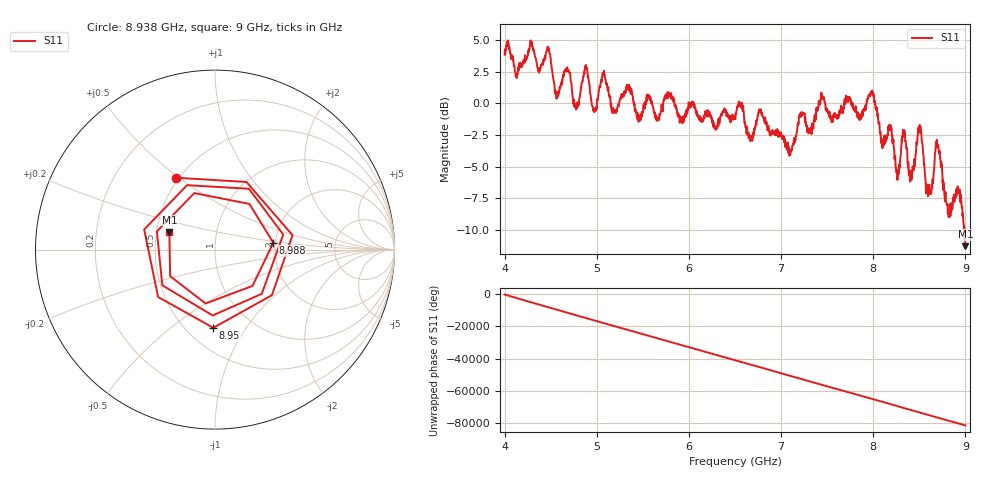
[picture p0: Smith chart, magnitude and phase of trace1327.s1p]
! Created with skrf 1.8.0 (http://scikit-rf.org).
# Hz S RI R 50.0
!freq ReS11 ImS11
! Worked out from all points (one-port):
!   1601 points, 4 GHz to 9 GHz, reference 50 ohm
!   lowest |S11| = -11.3 dB at 9 GHz (marker M1), VSWR 1.75, Z = 29.2 + j6.24 ohm
!   |S11| at or under -10 dB: 8.988862 GHz to end of sweep
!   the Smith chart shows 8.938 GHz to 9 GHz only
!   S11 on the Smith chart (normalised r, x): 8.938 GHz: 0.48, +0.49; 8.95 GHz: 0.67, -0.72; 8.988 GHz: 1.95, +0.17; 9 GHz: 0.58, +0.12
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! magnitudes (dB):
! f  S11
! 4 GHz  3.9
! 4.128 GHz  2.2
! 4.472 GHz  4.4
! 4.559 GHz  0.6
! 4.625 GHz  1.6
! 4.778 GHz  0.0
! 4.878 GHz  3.0
! 4.972 GHz  -0.4
! 5.072 GHz  2.3
! 5.25 GHz  0.2
! 5.875 GHz  -0.7
! 6.5 GHz  -1.1
! 7.125 GHz  -3.3
! 7.219 GHz  -0.7
! 7.75 GHz  0.4
! 7.984 GHz  0.9
! 8.262 GHz  -6.1
! 8.328 GHz  -2.4
! 8.375 GHz  -4.8
! 8.416 GHz  -6.0
! 8.506 GHz  -1.7
! 8.597 GHz  -7.2
! 8.697 GHz  -3.2
! 8.812 GHz  -8.7
! 8.938 GHz  -6.8
! 8.95 GHz  -7.2
! 8.988 GHz  -9.7
! 9 GHz  -11.3
